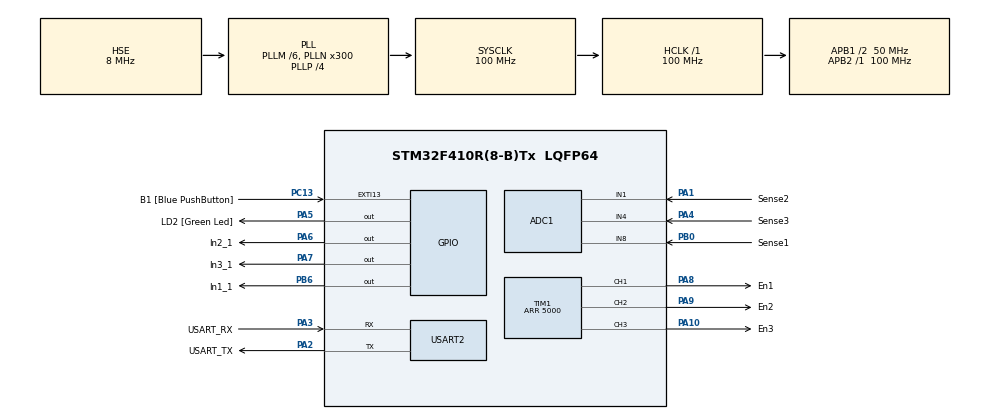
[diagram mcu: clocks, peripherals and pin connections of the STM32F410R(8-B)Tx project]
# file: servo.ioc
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ADC1.Channel-0\#ChannelRegularConversion=ADC_CHANNEL_8
ADC1.Channel-1\#ChannelRegularConversion=ADC_CHANNEL_1
ADC1.Channel-2\#ChannelRegularConversion=ADC_CHANNEL_4
ADC1.NbrOfConversion=3
ADC1.NbrOfConversionFlag=1
ADC1.Rank-0\#ChannelRegularConversion=1
ADC1.Rank-1\#ChannelRegularConversion=2
ADC1.Rank-2\#ChannelRegularConversion=3
ADC1.SamplingTime-0\#ChannelRegularConversion=ADC_SAMPLETIME_15CYCLES
ADC1.SamplingTime-1\#ChannelRegularConversion=ADC_SAMPLETIME_15CYCLES
ADC1.SamplingTime-2\#ChannelRegularConversion=ADC_SAMPLETIME_15CYCLES
ADC1.master=1
Mcu.Family=STM32F4
Mcu.Name=STM32F410R(8-B)Tx
Mcu.Package=LQFP64
NVIC.PriorityGroup=NVIC_PRIORITYGROUP_0
NVIC.TIM1_UP_IRQn=true\:0\:0\:false\:false\:true\:true\:true\:true
PA1.GPIO_Label=Sense2
PA1.Signal=ADCx_IN1
PA10.GPIO_Label=En3
PA10.GPIO_PuPd=GPIO_PULLDOWN
PA10.GPIO_Speed=GPIO_SPEED_FREQ_HIGH
PA10.Signal=S_TIM1_CH3
PA13.GPIO_Label=TMS
PA13.Mode=Serial_Wire
PA13.Signal=SYS_JTMS-SWDIO
PA14.GPIO_Label=TCK
PA14.Mode=Serial_Wire
PA14.Signal=SYS_JTCK-SWCLK
PA2.GPIO_Label=USART_TX
PA2.Mode=Asynchronous
PA2.Signal=USART2_TX
PA3.GPIO_Label=USART_RX
PA3.Mode=Asynchronous
PA3.Signal=USART2_RX
PA4.GPIO_Label=Sense3
PA4.Signal=ADCx_IN4
PA5.GPIO_Label=LD2 [Green Led]
PA5.Signal=GPIO_Output
PA6.GPIO_Label=In2_1
PA6.Signal=GPIO_Output
PA7.GPIO_Label=In3_1
PA7.Signal=GPIO_Output
PA8.GPIO_Label=En1
PA8.GPIO_PuPd=GPIO_PULLDOWN
PA8.GPIO_Speed=GPIO_SPEED_FREQ_HIGH
PA8.Signal=S_TIM1_CH1
PA9.GPIO_Label=En2
PA9.GPIO_PuPd=GPIO_PULLDOWN
PA9.GPIO_Speed=GPIO_SPEED_FREQ_HIGH
PA9.Signal=S_TIM1_CH2
PB0.GPIO_Label=Sense1
PB0.Signal=ADCx_IN8
PB3.GPIO_Label=SWO
PB3.Signal=SYS_JTDO-SWO
PB6.GPIO_Label=In1_1
PB6.Signal=GPIO_Output
PC13-ANTI_TAMP.GPIO_Label=B1 [Blue PushButton]
PC13-ANTI_TAMP.GPIO_ModeDefaultEXTI=GPIO_MODE_IT_FALLING
PC13-ANTI_TAMP.Signal=GPXTI13
PC14-OSC32_IN.Mode=LSE-External-Oscillator
PC14-OSC32_IN.Signal=RCC_OSC32_IN
PC15-OSC32_OUT.Mode=LSE-External-Oscillator
PC15-OSC32_OUT.Signal=RCC_OSC32_OUT
PH0\ -\ OSC_IN.Mode=HSE-External-Clock-Source
PH0\ -\ OSC_IN.Signal=RCC_OSC_IN
PH1\ -\ OSC_OUT.Mode=HSE-External-Clock-Source
PH1\ -\ OSC_OUT.Signal=RCC_OSC_OUT
ProjectManager.HeapSize=0x200
ProjectManager.StackSize=0x400
ProjectManager.TargetToolchain=STM32CubeIDE
RCC.48MHZClocksFreq_Value=100000000
RCC.AHBFreq_Value=100000000
RCC.APB1CLKDivider=RCC_HCLK_DIV2
RCC.APB1Freq_Value=50000000
RCC.APB1TimFreq_Value=100000000
RCC.APB2Freq_Value=100000000
RCC.APB2TimFreq_Value=100000000
RCC.CortexFreq_Value=100000000
RCC.FLatency-AdvancedSettings=FLASH_LATENCY_3
RCC.HCLKFreq_Value=100000000
RCC.HSE_VALUE=8000000
RCC.HSI_VALUE=16000000
RCC.PLLM=6
RCC.PLLN=300
RCC.PLLP=RCC_PLLP_DIV4
RCC.PLLSourceVirtual=RCC_PLLSOURCE_HSE
RCC.SYSCLKFreq_VALUE=100000000
RCC.SYSCLKSource=RCC_SYSCLKSOURCE_PLLCLK
RCC.VCOOutputFreq_Value=400000000
SH.ADCx_IN1.0=ADC1_IN1,IN1
SH.ADCx_IN4.0=ADC1_IN4,IN4
SH.ADCx_IN8.0=ADC1_IN8,IN8
SH.S_TIM1_CH1.0=TIM1_CH1,PWM Generation1 CH1
SH.S_TIM1_CH2.0=TIM1_CH2,PWM Generation2 CH2
SH.S_TIM1_CH3.0=TIM1_CH3,PWM Generation3 CH3
TIM1.AutoReloadPreload=TIM_AUTORELOAD_PRELOAD_ENABLE
TIM1.Channel-PWM\ Generation1\ CH1=TIM_CHANNEL_1
TIM1.Channel-PWM\ Generation2\ CH2=TIM_CHANNEL_2
TIM1.Channel-PWM\ Generation3\ CH3=TIM_CHANNEL_3
TIM1.CounterMode=TIM_COUNTERMODE_UP
TIM1.Period=5000
TIM1.Pulse-PWM\ Generation1\ CH1=0
TIM1.Pulse-PWM\ Generation2\ CH2=0
TIM1.Pulse-PWM\ Generation3\ CH3=0
USART2.VirtualMode=VM_ASYNC
VP_TIM1_VS_ClockSourceINT.Mode=Internal
board=NUCLEO-F410RB

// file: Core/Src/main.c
/* USER CODE BEGIN Header */
/**
  ******************************************************************************
  * @file           : main.c
  * @brief          : Main program body
  ******************************************************************************
  * @attention
  *
  * Copyright (c) 2024 STMicroelectronics.
  * All rights reserved.
  *
  * This software is licensed under terms that can be found in the LICENSE file
  * in the root directory of this software component.
  * If no LICENSE file comes with this software, it is provided AS-IS.
  *
  ******************************************************************************
  */
/* USER CODE END Header */
#include "main.h"

/* USER CODE BEGIN Includes */
#include <stdio.h>
/* USER CODE END Includes */

ADC_HandleTypeDef hadc1;

TIM_HandleTypeDef htim1;

UART_HandleTypeDef huart2;

void SystemClock_Config(void);
static void MX_GPIO_Init(void);
static void MX_USART2_UART_Init(void);
static void MX_ADC1_Init(void);
static void MX_TIM1_Init(void);
/* USER CODE BEGIN PFP */
void ServoStart(void);
void ServoTimerHandler(void);
extern uint8_t volatile servo_timeout;
/* USER CODE END PFP */

/* USER CODE BEGIN 0 */
int __io_putchar(int ch)
{
	HAL_UART_Transmit(&huart2, (uint8_t*)&ch, 1, 180);
	return (int)ch;
}

int __io_getchar(void)
{
	uint8_t byte;

	if (HAL_UART_Receive(&huart2, &byte, 1, 0) == HAL_OK)
		return (int)byte;
	else
		return (int)EOF;
}
/* USER CODE END 0 */

int main(void)
{

  /* MCU Configuration--------------------------------------------------------*/

  /* Reset of all peripherals, Initializes the Flash interface and the Systick. */
  HAL_Init();

  /* Configure the system clock */
  SystemClock_Config();

  /* Initialize all configured peripherals */
  MX_GPIO_Init();
  MX_USART2_UART_Init();
  MX_ADC1_Init();
  MX_TIM1_Init();
  /* USER CODE BEGIN 2 */
  ServoStart();
  /* USER CODE END 2 */

  /* Infinite loop */
  /* USER CODE BEGIN WHILE */
  printf("Servo start\n");
  while (1)
  {
    /* USER CODE END WHILE */

    /* USER CODE BEGIN 3 */
	  if (servo_timeout) {
		  servo_timeout = 0;
		  ServoTimerHandler();
	  }
  }
  /* USER CODE END 3 */
}

void SystemClock_Config(void)
{
  RCC_OscInitTypeDef RCC_OscInitStruct = {0};
  RCC_ClkInitTypeDef RCC_ClkInitStruct = {0};

  /** Configure the main internal regulator output voltage
  */
  __HAL_RCC_PWR_CLK_ENABLE();
  __HAL_PWR_VOLTAGESCALING_CONFIG(PWR_REGULATOR_VOLTAGE_SCALE1);

  /** Initializes the RCC Oscillators according to the specified parameters
  * in the RCC_OscInitTypeDef structure.
  */
  RCC_OscInitStruct.OscillatorType = RCC_OSCILLATORTYPE_HSE;
  RCC_OscInitStruct.HSEState = RCC_HSE_BYPASS;
  RCC_OscInitStruct.PLL.PLLState = RCC_PLL_ON;
  RCC_OscInitStruct.PLL.PLLSource = RCC_PLLSOURCE_HSE;
  RCC_OscInitStruct.PLL.PLLM = 6;
  RCC_OscInitStruct.PLL.PLLN = 300;
  RCC_OscInitStruct.PLL.PLLP = RCC_PLLP_DIV4;
  RCC_OscInitStruct.PLL.PLLQ = 4;
  RCC_OscInitStruct.PLL.PLLR = 2;
  if (HAL_RCC_OscConfig(&RCC_OscInitStruct) != HAL_OK)
  {
    Error_Handler();
  }

  /** Initializes the CPU, AHB and APB buses clocks
  */
  RCC_ClkInitStruct.ClockType = RCC_CLOCKTYPE_HCLK|RCC_CLOCKTYPE_SYSCLK
                              |RCC_CLOCKTYPE_PCLK1|RCC_CLOCKTYPE_PCLK2;
  RCC_ClkInitStruct.SYSCLKSource = RCC_SYSCLKSOURCE_PLLCLK;
  RCC_ClkInitStruct.AHBCLKDivider = RCC_SYSCLK_DIV1;
  RCC_ClkInitStruct.APB1CLKDivider = RCC_HCLK_DIV2;
  RCC_ClkInitStruct.APB2CLKDivider = RCC_HCLK_DIV1;

  if (HAL_RCC_ClockConfig(&RCC_ClkInitStruct, FLASH_LATENCY_3) != HAL_OK)
  {
    Error_Handler();
  }
}

static void MX_ADC1_Init(void)
{

  ADC_ChannelConfTypeDef sConfig = {0};

  /** Configure the global features of the ADC (Clock, Resolution, Data Alignment and number of conversion)
  */
  hadc1.Instance = ADC1;
  hadc1.Init.ClockPrescaler = ADC_CLOCK_SYNC_PCLK_DIV4;
  hadc1.Init.Resolution = ADC_RESOLUTION_12B;
  hadc1.Init.ScanConvMode = ENABLE;
  hadc1.Init.ContinuousConvMode = DISABLE;
  hadc1.Init.DiscontinuousConvMode = DISABLE;
  hadc1.Init.ExternalTrigConvEdge = ADC_EXTERNALTRIGCONVEDGE_NONE;
  hadc1.Init.ExternalTrigConv = ADC_SOFTWARE_START;
  hadc1.Init.DataAlign = ADC_DATAALIGN_RIGHT;
  hadc1.Init.NbrOfConversion = 3;
  hadc1.Init.DMAContinuousRequests = DISABLE;
  hadc1.Init.EOCSelection = ADC_EOC_SINGLE_CONV;
  if (HAL_ADC_Init(&hadc1) != HAL_OK)
  {
    Error_Handler();
  }

  /** Configure for the selected ADC regular channel its corresponding rank in the sequencer and its sample time.
  */
  sConfig.Channel = ADC_CHANNEL_8;
  sConfig.Rank = 1;
  sConfig.SamplingTime = ADC_SAMPLETIME_15CYCLES;
  if (HAL_ADC_ConfigChannel(&hadc1, &sConfig) != HAL_OK)
  {
    Error_Handler();
  }

  /** Configure for the selected ADC regular channel its corresponding rank in the sequencer and its sample time.
  */
  sConfig.Channel = ADC_CHANNEL_1;
  sConfig.Rank = 2;
  if (HAL_ADC_ConfigChannel(&hadc1, &sConfig) != HAL_OK)
  {
    Error_Handler();
  }

  /** Configure for the selected ADC regular channel its corresponding rank in the sequencer and its sample time.
  */
  sConfig.Channel = ADC_CHANNEL_4;
  sConfig.Rank = 3;
  if (HAL_ADC_ConfigChannel(&hadc1, &sConfig) != HAL_OK)
  {
    Error_Handler();
  }

}

static void MX_TIM1_Init(void)
{

  TIM_ClockConfigTypeDef sClockSourceConfig = {0};
  TIM_MasterConfigTypeDef sMasterConfig = {0};
  TIM_OC_InitTypeDef sConfigOC = {0};
  TIM_BreakDeadTimeConfigTypeDef sBreakDeadTimeConfig = {0};

  htim1.Instance = TIM1;
  htim1.Init.Prescaler = 0;
  htim1.Init.CounterMode = TIM_COUNTERMODE_UP;
  htim1.Init.Period = 5000;
  htim1.Init.ClockDivision = TIM_CLOCKDIVISION_DIV1;
  htim1.Init.RepetitionCounter = 0;
  htim1.Init.AutoReloadPreload = TIM_AUTORELOAD_PRELOAD_ENABLE;
  if (HAL_TIM_Base_Init(&htim1) != HAL_OK)
  {
    Error_Handler();
  }
  sClockSourceConfig.ClockSource = TIM_CLOCKSOURCE_INTERNAL;
  if (HAL_TIM_ConfigClockSource(&htim1, &sClockSourceConfig) != HAL_OK)
  {
    Error_Handler();
  }
  if (HAL_TIM_PWM_Init(&htim1) != HAL_OK)
  {
    Error_Handler();
  }
  sMasterConfig.MasterOutputTrigger = TIM_TRGO_RESET;
  sMasterConfig.MasterSlaveMode = TIM_MASTERSLAVEMODE_DISABLE;
  if (HAL_TIMEx_MasterConfigSynchronization(&htim1, &sMasterConfig) != HAL_OK)
  {
    Error_Handler();
  }
  sConfigOC.OCMode = TIM_OCMODE_PWM1;
  sConfigOC.Pulse = 0;
  sConfigOC.OCPolarity = TIM_OCPOLARITY_HIGH;
  sConfigOC.OCNPolarity = TIM_OCNPOLARITY_HIGH;
  sConfigOC.OCFastMode = TIM_OCFAST_DISABLE;
  sConfigOC.OCIdleState = TIM_OCIDLESTATE_RESET;
  sConfigOC.OCNIdleState = TIM_OCNIDLESTATE_RESET;
  if (HAL_TIM_PWM_ConfigChannel(&htim1, &sConfigOC, TIM_CHANNEL_1) != HAL_OK)
  {
    Error_Handler();
  }
  if (HAL_TIM_PWM_ConfigChannel(&htim1, &sConfigOC, TIM_CHANNEL_2) != HAL_OK)
  {
    Error_Handler();
  }
  if (HAL_TIM_PWM_ConfigChannel(&htim1, &sConfigOC, TIM_CHANNEL_3) != HAL_OK)
  {
    Error_Handler();
  }
  sBreakDeadTimeConfig.OffStateRunMode = TIM_OSSR_DISABLE;
  sBreakDeadTimeConfig.OffStateIDLEMode = TIM_OSSI_DISABLE;
  sBreakDeadTimeConfig.LockLevel = TIM_LOCKLEVEL_OFF;
  sBreakDeadTimeConfig.DeadTime = 0;
  sBreakDeadTimeConfig.BreakState = TIM_BREAK_DISABLE;
  sBreakDeadTimeConfig.BreakPolarity = TIM_BREAKPOLARITY_HIGH;
  sBreakDeadTimeConfig.AutomaticOutput = TIM_AUTOMATICOUTPUT_DISABLE;
  if (HAL_TIMEx_ConfigBreakDeadTime(&htim1, &sBreakDeadTimeConfig) != HAL_OK)
  {
    Error_Handler();
  }
  HAL_TIM_MspPostInit(&htim1);

}

static void MX_USART2_UART_Init(void)
{

  huart2.Instance = USART2;
  huart2.Init.BaudRate = 115200;
  huart2.Init.WordLength = UART_WORDLENGTH_8B;
  huart2.Init.StopBits = UART_STOPBITS_1;
  huart2.Init.Parity = UART_PARITY_NONE;
  huart2.Init.Mode = UART_MODE_TX_RX;
  huart2.Init.HwFlowCtl = UART_HWCONTROL_NONE;
  huart2.Init.OverSampling = UART_OVERSAMPLING_16;
  if (HAL_UART_Init(&huart2) != HAL_OK)
  {
    Error_Handler();
  }

}

static void MX_GPIO_Init(void)
{
  GPIO_InitTypeDef GPIO_InitStruct = {0};

  /* GPIO Ports Clock Enable */
  __HAL_RCC_GPIOC_CLK_ENABLE();
  __HAL_RCC_GPIOH_CLK_ENABLE();
  __HAL_RCC_GPIOA_CLK_ENABLE();
  __HAL_RCC_GPIOB_CLK_ENABLE();

  /*Configure GPIO pin Output Level */
  HAL_GPIO_WritePin(GPIOA, LD2_Pin|In2_1_Pin|In3_1_Pin, GPIO_PIN_RESET);

  /*Configure GPIO pin Output Level */
  HAL_GPIO_WritePin(In1_1_GPIO_Port, In1_1_Pin, GPIO_PIN_RESET);

  /*Configure GPIO pin : B1_Pin */
  GPIO_InitStruct.Pin = B1_Pin;
  GPIO_InitStruct.Mode = GPIO_MODE_IT_FALLING;
  GPIO_InitStruct.Pull = GPIO_NOPULL;
  HAL_GPIO_Init(B1_GPIO_Port, &GPIO_InitStruct);

  /*Configure GPIO pins : LD2_Pin In2_1_Pin In3_1_Pin */
  GPIO_InitStruct.Pin = LD2_Pin|In2_1_Pin|In3_1_Pin;
  GPIO_InitStruct.Mode = GPIO_MODE_OUTPUT_PP;
  GPIO_InitStruct.Pull = GPIO_NOPULL;
  GPIO_InitStruct.Speed = GPIO_SPEED_FREQ_LOW;
  HAL_GPIO_Init(GPIOA, &GPIO_InitStruct);

  /*Configure GPIO pin : In1_1_Pin */
  GPIO_InitStruct.Pin = In1_1_Pin;
  GPIO_InitStruct.Mode = GPIO_MODE_OUTPUT_PP;
  GPIO_InitStruct.Pull = GPIO_NOPULL;
  GPIO_InitStruct.Speed = GPIO_SPEED_FREQ_LOW;
  HAL_GPIO_Init(In1_1_GPIO_Port, &GPIO_InitStruct);

}

void Error_Handler(void)
{
  __disable_irq();
  while (1)
  {
  }
}
